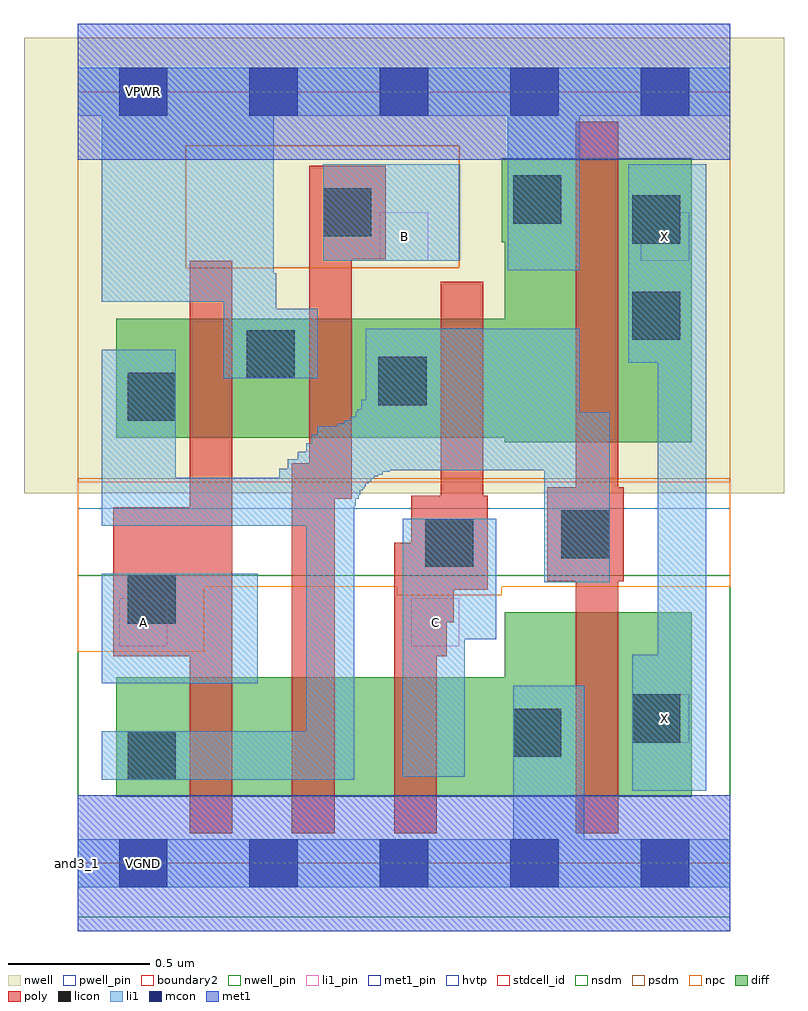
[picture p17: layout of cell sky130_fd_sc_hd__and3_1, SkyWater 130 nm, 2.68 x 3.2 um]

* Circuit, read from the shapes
.subckt sky130_fd_sc_hd__and3_1 A B C VGND VNB VPB VPWR X
XM1 n1 A n2 VNB sky130_fd_pr__nfet_01v8 w=0.42 l=0.15
XM2 n3 B n1 VNB sky130_fd_pr__nfet_01v8 w=0.42 l=0.15
XM3 VGND C n3 VNB sky130_fd_pr__nfet_01v8 w=0.42 l=0.15
XM4 X n2 VGND VNB sky130_fd_pr__nfet_01v8 w=0.65 l=0.15
XM5 VPWR A n2 VPB sky130_fd_pr__pfet_01v8_hvt w=0.42 l=0.15
XM6 n2 B VPWR VPB sky130_fd_pr__pfet_01v8_hvt w=0.42 l=0.15
XM7 VPWR C n2 VPB sky130_fd_pr__pfet_01v8_hvt w=0.42 l=0.15
XM8 X n2 VPWR VPB sky130_fd_pr__pfet_01v8_hvt w=1 l=0.15
.ends

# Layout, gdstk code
import gdstk
lib = gdstk.Library(unit=1e-6, precision=1e-09)
def R(c, l, rs):  # rectangles x0, y0, x1, y1
    for r in rs: c.add(gdstk.rectangle(r[:2], r[2:], *l))
def A(c, l, x, y, w, h, nx, ny, dx, dy):  # array of equal rectangles
    R(c, l, [(x+i*dx, y+j*dy, x+i*dx+w, y+j*dy+h) for i in range(nx) for j in range(ny)])
def P(c, l, *ps):  # polygons
    for p in ps: c.add(gdstk.Polygon(p, *l))
nwell_pin = (64, 16)
nwell = (64, 20)
diff = (65, 20)
poly = (66, 20)
licon = (66, 44)
li1_pin = (67, 16)
li1 = (67, 20)
mcon = (67, 44)
met1_pin = (68, 16)
met1 = (68, 20)
hvtp = (78, 44)
stdcell_id = (81, 4)
nsdm = (93, 44)
psdm = (94, 20)
npc = (95, 20)
pwell_pin = (122, 16)
boundary2 = (236, 0)

sky130_fd_sc_hd__and3_1 = lib.new_cell('sky130_fd_sc_hd__and3_1')
R(sky130_fd_sc_hd__and3_1, nwell_pin, [(0.145,2.635,0.315,2.805)])
R(sky130_fd_sc_hd__and3_1, nwell, [(-0.19,1.305,2.49,2.91)])
R(sky130_fd_sc_hd__and3_1, diff, [(0.135,0.235,0.94,0.655), (0.94,0.235,1.51,0.655), (1.505,0.235,2.165,0.885), (0.135,1.5,1.035,1.92), (1.035,1.5,1.505,1.92)])
P(sky130_fd_sc_hd__and3_1, diff, [(2.165,2.485),(1.495,2.485),(1.495,2.19),(1.505,2.19),(1.505,1.485),(2.165,1.485)])
R(sky130_fd_sc_hd__and3_1, poly, [(0.395,0.105,0.545,0.695), (0.755,0.105,0.905,0.675), (1.115,0.105,1.265,0.77), (1.755,0.105,1.905,0.955), (0.755,0.675,0.905,0.81), (1.115,0.73,1.3,1.13), (0.395,1.185,0.545,2.125), (1.28,1.295,1.43,2.05), (1.755,1.305,1.905,2.615), (0.815,1.525,0.965,2.01), (0.815,2.01,0.965,2.205), (0.815,2.13,1.085,2.46)])
P(sky130_fd_sc_hd__and3_1, poly, [(1.445,1.295),(1.175,1.295),(1.175,0.85),(1.325,0.85),(1.325,0.965),(1.445,0.965)],
  [(1.925,1.325),(1.655,1.325),(1.655,0.995),(1.755,0.995),(1.755,0.95),(1.905,0.95),(1.905,0.995),(1.925,0.995)],
  [(0.545,1.255),(0.125,1.255),(0.125,0.73),(0.395,0.73),(0.395,0.695),(0.545,0.695)],
  [(0.965,1.64),(0.815,1.64),(0.815,1.41),(0.755,1.41),(0.755,0.8),(0.905,0.8),(0.905,1.285),(0.965,1.285)])
R(sky130_fd_sc_hd__and3_1, licon, [(0.175,0.295,0.345,0.465), (1.535,0.375,1.705,0.545), (1.955,0.425,2.125,0.595), (0.175,0.845,0.345,1.015), (1.225,1.045,1.395,1.215), (1.705,1.075,1.875,1.245), (0.175,1.56,0.345,1.73), (1.06,1.615,1.23,1.785), (0.595,1.71,0.765,1.88), (1.955,1.845,2.125,2.015), (1.955,2.185,2.125,2.355), (0.865,2.21,1.035,2.38), (1.535,2.255,1.705,2.425)])
R(sky130_fd_sc_hd__and3_1, li1_pin, [(1.985,0.425,2.155,0.595), (0.145,0.765,0.315,0.935), (1.175,0.765,1.345,0.935), (1.065,2.125,1.235,2.295), (1.985,2.125,2.155,2.295)])
R(sky130_fd_sc_hd__and3_1, li1, [(0.085,0.635,0.635,1.02), (0.74,1.35,0.87,1.425), (0.085,1.36,0.345,1.81), (0.71,1.36,0.74,1.39), (0.845,1.42,0.95,1.51), (0.775,1.425,0.845,1.45), (0.805,1.45,0.845,1.48), (0.825,1.48,0.845,1.51), (0.845,1.51,0.94,1.54), (0.915,1.54,0.94,1.55), (0.96,1.56,1,1.575), (1,1.56,1.06,1.635), (0.98,1.575,1,1.59), (0.985,1.59,1,1.6), (1.015,1.635,1.06,1.885), (0.085,1.98,0.515,2.635), (0.865,2.125,1.345,2.465)])
P(sky130_fd_sc_hd__and3_1, li1, [(1.145,0.305),(1.145,1.215),(1.475,1.215),(1.475,0.79),(1.365,0.79),(1.365,0.305)],
  [(1.875,1.59),(1.77,1.59),(1.77,1.885),(1.06,1.885),(1.06,1.56),(0.94,1.56),(0.94,1.495),(0.91,1.495),(0.91,1.48),(0.885,1.48),(0.885,1.46),(0.865,1.46),(0.865,1.435),(0.85,1.435),(0.85,1.415),(0.845,1.415),(0.845,1.36),(0.085,1.36),(0.085,1.19),(0.805,1.19),(0.805,0.695),(0.975,0.695),(0.975,1.385),(1.645,1.385),(1.645,0.99),(1.875,0.99)],
  [(2.215,2.465),(1.94,2.465),(1.94,1.765),(2.045,1.765),(2.045,0.735),(1.955,0.735),(1.955,0.255),(2.215,0.255)],
  [(2.3,2.805),(0,2.805),(0,2.635),(1.515,2.635),(1.515,2.09),(1.77,2.09),(1.77,2.635),(2.3,2.635)],
  [(2.3,0.085),(1.785,0.085),(1.785,0.625),(1.535,0.625),(1.535,0.085),(0,0.085),(0,-0.085),(2.3,-0.085)],
  [(0.975,0.7),(0.805,0.7),(0.805,0.465),(0.085,0.465),(0.085,0.295),(0.975,0.295)],
  [(0.845,1.955),(0.7,1.955),(0.7,2.08),(0.69,2.08),(0.69,2.635),(0.515,2.635),(0.515,1.71),(0.845,1.71)],
  [(1.1,1.385),(0.975,1.385),(0.975,1.26),(0.98,1.26),(0.98,1.285),(0.99,1.285),(0.99,1.3),(0.995,1.3),(0.995,1.315),(1.005,1.315),(1.005,1.32),(1.01,1.32),(1.01,1.33),(1.015,1.33),(1.015,1.34),(1.025,1.34),(1.025,1.345),(1.035,1.345),(1.035,1.355),(1.045,1.355),(1.045,1.365),(1.06,1.365),(1.06,1.37),(1.075,1.37),(1.075,1.38),(1.1,1.38)])
A(sky130_fd_sc_hd__and3_1, mcon, 0.145, -0.085, 0.17, 0.17, 5, 2, 0.46, 2.72)
R(sky130_fd_sc_hd__and3_1, met1_pin, [(0.145,-0.085,0.315,0.085), (0.145,2.635,0.315,2.805)])
R(sky130_fd_sc_hd__and3_1, hvtp, [(0,1.25,2.3,2.72)])
R(sky130_fd_sc_hd__and3_1, stdcell_id, [(0,0,2.3,2.72)])
R(sky130_fd_sc_hd__and3_1, nsdm, [(0,-0.19,2.3,1.015)])
P(sky130_fd_sc_hd__and3_1, psdm, [(2.3,2.91),(1.345,2.91),(1.345,2.1),(0.38,2.1),(0.38,2.53),(1.345,2.53),(1.345,2.91),(0,2.91),(0,1.355),(2.3,1.355)])
R(sky130_fd_sc_hd__and3_1, npc, [(0,0.745,0.445,1.015), (1.125,0.945,1.495,1.045), (0,0.975,2.3,1.345), (0.38,2.1,1.345,2.53)])
R(sky130_fd_sc_hd__and3_1, pwell_pin, [(0.145,-0.085,0.315,0.085)])
R(sky130_fd_sc_hd__and3_1, boundary2, [(0,0,2.3,2.72)])
sky130_fd_sc_hd__and3_1.add(gdstk.FlexPath([(0,2.72),(2.3,2.72)], 0.48, ends="flush", simple_path=True, layer=68, datatype=20))  # met1
sky130_fd_sc_hd__and3_1.add(gdstk.FlexPath([(0,0),(2.3,0)], 0.48, ends="flush", simple_path=True, layer=68, datatype=20))  # met1
sky130_fd_sc_hd__and3_1.add(gdstk.Label('VGND', (0.23,0), layer=68, texttype=5))
sky130_fd_sc_hd__and3_1.add(gdstk.Label('VPWR', (0.23,2.72), layer=68, texttype=5))
sky130_fd_sc_hd__and3_1.add(gdstk.Label('X', (2.07,2.21), layer=67, texttype=5))
sky130_fd_sc_hd__and3_1.add(gdstk.Label('X', (2.07,0.51), layer=67, texttype=5))
sky130_fd_sc_hd__and3_1.add(gdstk.Label('B', (1.15,2.21), layer=67, texttype=5))
sky130_fd_sc_hd__and3_1.add(gdstk.Label('A', (0.23,0.85), layer=67, texttype=5))
sky130_fd_sc_hd__and3_1.add(gdstk.Label('C', (1.26,0.85), layer=67, texttype=5))
sky130_fd_sc_hd__and3_1.add(gdstk.Label('VPB', (0.23,2.72), layer=64, texttype=5))
sky130_fd_sc_hd__and3_1.add(gdstk.Label('VNB', (0.23,0), layer=64, texttype=59))
sky130_fd_sc_hd__and3_1.add(gdstk.Label('and3_1', (0,0), layer=83, texttype=44))

lib.write_gds('sky130_fd_sc_hd__and3_1.gds')
